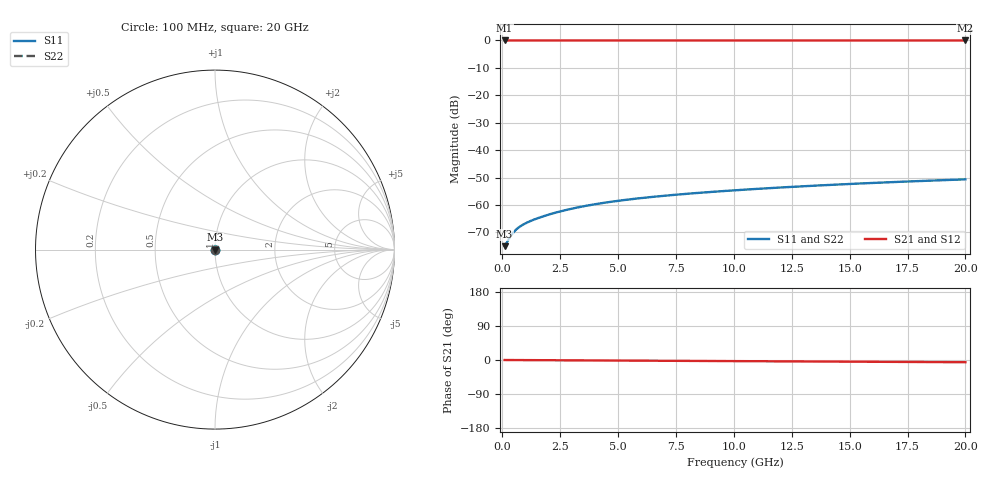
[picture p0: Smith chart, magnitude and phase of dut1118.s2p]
! Touchstone file exported from HFSS 2026.1.0
!  File:  C:/ffzhzh/LocalFiles/Ansys_Project_Files/temp_train_TSV_1118_1783190876_43440.aedt
!  Generated:  02:49:24 AM Jul  5, 2026
!  Design:  TSV
!  Project:  temp_train_TSV_1118_1783190876_43440
! Variables:
!  h_bsmrdl = 2um
!  h_ox = 20um
!  h_rdl = 5um
!  h_sub = 58.68um
!  h_tmrdl = 5um
!  h_tsv = 58.68um
!  h_via = 3um
!  l_bsmrdl = 300um
!  l_sub = 414.42um
!  l_tmrdl = 200um
!  m_sub = 200um
!  pitch = 29.98um
!  r_tsv = 7.21um
!  s_tmrdl = 10um
!  w_bsmrdl = 18um
!  w_sub = 500um
!  w_tmrdl = 12um
!  x_tsv_center1 = 206um
!  x_tsv_center2 = 524um
!  x_tsv_center3 = 736um
!  x_tsv_center4 = 1054um
!  x_tsv_center5 = 1266um
!  x_tsv_center6 = 1584um
# GHz S MA R 50.000000
! Terminal data exported
! Port[1] = TSV1_1_T1
! Port[2] = TSV1_1_T2
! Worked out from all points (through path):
!   200 points, 100 MHz to 20 GHz, reference 50 ohm
!   highest |S21| = 0.00 dB at 100 MHz (marker M1); lowest = 0.0 dB at 20 GHz (marker M2)
!   lowest |S11| = -75.0 dB at 100 MHz (marker M3), VSWR 1.00, Z = 50 + j0.00529 ohm
!   |S11| at or under -10 dB: start of sweep to end of sweep
!   |S22| runs from -75.0 to -50.7 dB; largest |S21 - S12| = 4e-15
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0.1  0.0001773 17.3  0.9998 -0.0  0.9998 -0.0  0.0001773 17.3
! Gamma 0 0 0 0
! Port Impedance 50 0 50 0
0.3  0.0002471 36.3  0.9998 -0.1  0.9998 -0.1  0.0002471 36.3
0.4  0.0002863 39.9  0.9998 -0.1  0.9998 -0.1  0.0002863 39.9
0.5  0.000323 41.9  0.9998 -0.2  0.9998 -0.2  0.000323 41.9
0.6  0.0003563 43.1  0.9997 -0.2  0.9997 -0.2  0.0003563 43.1
0.7  0.0003864 43.9  0.9997 -0.2  0.9997 -0.2  0.0003864 43.9
0.8  0.0004137 44.5  0.9997 -0.2  0.9997 -0.2  0.0004137 44.5
1  0.0004625 45.6  0.9997 -0.3  0.9997 -0.3  0.0004625 45.6
1.2  0.0005065 46.7  0.9996 -0.4  0.9996 -0.4  0.0005065 46.7
1.5  0.0005681 48.4  0.9996 -0.5  0.9996 -0.5  0.0005681 48.4
2.1  0.000686 51.1  0.9996 -0.6  0.9996 -0.6  0.000686 51.1
2.8  0.0008189 53.1  0.9995 -0.8  0.9995 -0.8  0.0008189 53.1
3.5  0.0009454 54.3  0.9995 -1.0  0.9995 -1.0  0.0009454 54.3
4.2  0.001064 54.9  0.9994 -1.2  0.9994 -1.2  0.001064 54.9
5  0.00119 55.4  0.9993 -1.5  0.9993 -1.5  0.00119 55.4
5.8  0.001308 55.7  0.9993 -1.7  0.9993 -1.7  0.001308 55.7
6.8  0.001446 56.0  0.9992 -2.0  0.9992 -2.0  0.001446 56.0
8.3  0.00164 56.4  0.9992 -2.4  0.9992 -2.4  0.00164 56.5
10.1  0.00186 56.9  0.9991 -3.0  0.9991 -3.0  0.001859 56.9
13.4  0.00224 57.5  0.9989 -3.9  0.9989 -3.9  0.00224 57.5
16.7  0.002597 57.6  0.9988 -4.9  0.9988 -4.9  0.002597 57.6
20  0.00293 57.3  0.9987 -5.9  0.9987 -5.9  0.002929 57.4
